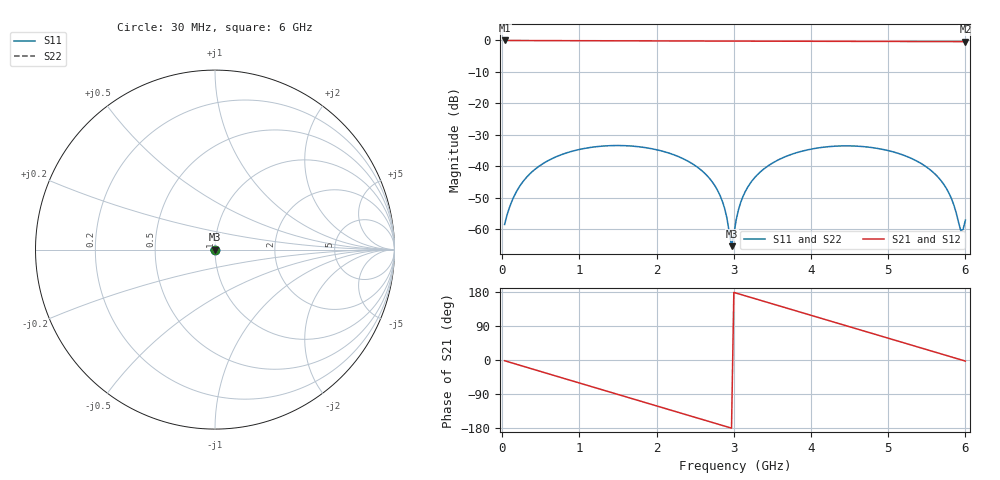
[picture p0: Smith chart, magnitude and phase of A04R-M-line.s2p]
! yapnr Order 0 O0-M: O0-M A04R M dL30 ROT (line, family M)
! stackup OSHPARK-4L-EM528, nominal parameters; geometry of the OSHPARK-4L-FR408HR design
! model: 2D quasi-static RLGC (Djordjevic-Sarkar, Huray roughness, Wheeler loss); generated by python -m yapnr.rf.coupons expected --stackup OSHPARK-4L-FR408HR --upload M
! reference planes 10 mm from each end; 50 ohm (from the M line's Zc)
# GHz S DB R 50
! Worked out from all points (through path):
!   200 points, 30 MHz to 6 GHz, reference 50 ohm
!   highest |S21| = -0.01 dB at 30 MHz (marker M1); lowest = -0.4 dB at 6 GHz (marker M2)
!   group delay of S21, straight-line fit = 168 ps
!   lowest |S11| = -65.5 dB at 2.97 GHz (marker M3), VSWR 1.00, Z = 49.9 - j0.00305 ohm
!   |S11| at or under -10 dB: start of sweep to end of sweep
!   |S22| runs from -65.5 to -33.4 dB; largest |S21 - S12| = 0
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0.03  -58.57 5.0  -0.01 -1.9  -0.01 -1.9  -58.57 5.0
0.15  -49.74 -50.0  -0.03 -9.2  -0.03 -9.2  -49.74 -50.0
0.36  -42.40 -83.2  -0.05 -22.0  -0.05 -22.0  -42.40 -83.2
0.66  -37.44 -110.1  -0.07 -40.2  -0.07 -40.2  -37.44 -110.1
1.05  -34.44 -138.1  -0.10 -63.8  -0.10 -63.8  -34.44 -138.1
1.53  -33.46 -169.6  -0.13 -92.8  -0.13 -92.8  -33.46 -169.6
2.04  -35.03 158.5  -0.16 -123.7  -0.16 -123.7  -35.03 158.5
2.46  -39.21 133.5  -0.19 -149.0  -0.19 -149.0  -39.21 133.5
2.73  -45.35 119.7  -0.20 -165.3  -0.20 -165.3  -45.35 119.7
2.88  -53.42 119.3  -0.21 -174.4  -0.21 -174.4  -53.42 119.3
2.97  -65.48 -176.7  -0.22 -179.8  -0.22 -179.8  -65.48 -176.7
3.03  -57.15 -106.7  -0.22 176.5  -0.22 176.5  -57.15 -106.7
3.15  -48.01 -99.2  -0.23 169.3  -0.23 169.3  -48.01 -99.2
3.33  -42.15 -106.4  -0.24 158.4  -0.24 158.4  -42.15 -106.4
3.63  -37.39 -123.0  -0.25 140.3  -0.25 140.3  -37.39 -123.0
4.02  -34.51 -145.8  -0.28 116.7  -0.28 116.7  -34.51 -145.8
4.5  -33.56 -174.3  -0.30 87.8  -0.30 87.8  -33.56 -174.3
5.01  -35.12 155.9  -0.33 56.9  -0.33 56.9  -35.12 155.9
5.58  -41.92 125.3  -0.36 22.5  -0.36 22.5  -41.92 125.3
5.79  -48.75 120.7  -0.37 9.8  -0.37 9.8  -48.75 120.7
5.94  -60.51 170.8  -0.38 0.8  -0.38 0.8  -60.51 170.8
6  -57.20 -127.1  -0.38 -2.9  -0.38 -2.9  -57.20 -127.1
